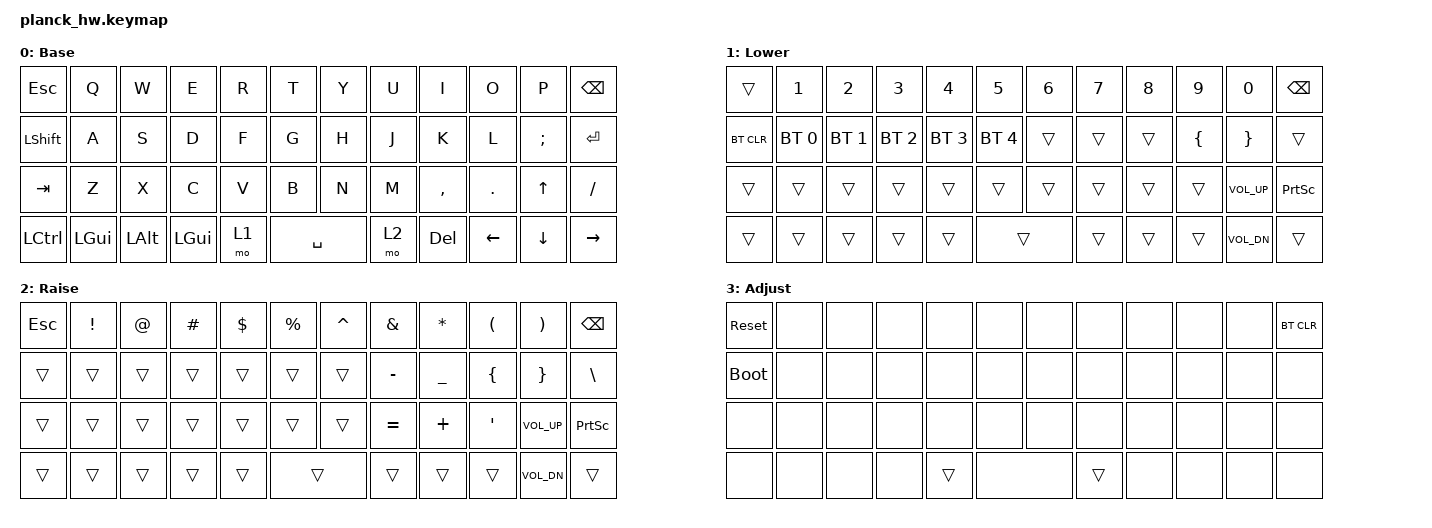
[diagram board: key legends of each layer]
/*
 * Copyright (c) 2024 The ZMK Contributors
 * SPDX-License-Identifier: MIT
 */

#include <behaviors.dtsi>
#include <dt-bindings/zmk/keys.h>
#include <dt-bindings/zmk/bt.h>

#define DEFAULT 0
#define LOWER   1
#define RAISE   2
#define ADJUST  3

/ {
    combos {
        compatible = "zmk,combos";
        
        // Press Lower + Raise together to unlock ZMK Studio
        combo_studio_unlock {
            timeout-ms = <50>;
            key-positions = <40 42>;  // Lower (pos 40) + Raise (pos 42)
            bindings = <&studio_unlock>;
        };
    };

    keymap {
        compatible = "zmk,keymap";

        default_layer {
            display-name = "Base";
            // -----------------------------------------------------------------------------------------
            // |  ESC  |  Q   |  W   |  E   |  R   |  T   |   Y   |  U    |  I   |  O   |   P   | BSPC  |
            // | SHIFT |  A   |  S   |  D   |  F   |  G   |   H   |  J    |  K   |  L   |   ;   |  ENT  |
            // |  TAB  |  Z   |  X   |  C   |  V   |  B   |   N   |  M    |  ,   |  .   |  UP   |   /   |
            // | LCTRL | LGUI | LALT | LGUI | LOWR | SPACE | RAISE |  DEL  | LEFT | DOWN | RIGHT |
            bindings = <
                &kp ESC   &kp Q     &kp W    &kp E    &kp R  &kp T   &kp Y   &kp U  &kp I     &kp O    &kp P     &kp BSPC
                &kp LSHFT &kp A     &kp S    &kp D    &kp F  &kp G   &kp H   &kp J  &kp K     &kp L    &kp SEMI  &kp RET
                &kp TAB   &kp Z     &kp X    &kp C    &kp V  &kp B   &kp N   &kp M  &kp COMMA &kp DOT  &kp UP    &kp SLASH
                &kp LCTRL &kp LGUI  &kp LALT &kp LGUI &mo 1  &kp SPACE       &mo 2  &kp DEL   &kp LEFT &kp DOWN  &kp RIGHT
            >;
        };

        lower_layer {
            display-name = "Lower";
            // -----------------------------------------------------------------------------------------
            // |       |  1   |  2   |  3   |  4   |  5   |   6   |   7   |  8   |  9   |   0   | BSPC  |
            // | BTCLR | BT1  | BT2  | BT3  | BT4  | BT5  |       |       |      |  {   |   }   | ENTER |
            // |       |      |      |      |      |      |       |       |      |      | VOL+  | PRSC  |
            // |       |      |      |      |      |      |       |       |      | VOL- |       |
            bindings = <
                &trans     &kp N1       &kp N2       &kp N3       &kp N4       &kp N5       &kp N6 &kp N7 &kp N8 &kp N9 &kp N0       &kp BSPC
                &bt BT_CLR &bt BT_SEL 0 &bt BT_SEL 1 &bt BT_SEL 2 &bt BT_SEL 3 &bt BT_SEL 4 &trans &trans &trans &kp LBRC &kp RBRC     &trans
                &trans     &trans       &trans       &trans       &trans       &trans       &trans &trans &trans &trans   &kp C_VOL_UP &kp PSCRN
                &trans     &trans       &trans       &trans       &trans       &trans              &trans &trans &trans   &kp C_VOL_DN &trans
            >;
        };

        raise_layer {
            display-name = "Raise";
            // -----------------------------------------------------------------------------------------
            // |  ESC  |  !   |  @   |  #   |  $   |  %   |   ^   |   &   |  *   |  (   |   )   | BSPC  |
            // |       |      |      |      |      |      |   -   |   _   |  {   |  }   |   \   |       |
            // |       |      |      |      |      |      |   =   |   +   |  '   |      | VOL+  | PRSC  |
            // |       |      |      |      |      |      |       |       |      | VOL- |       |
            bindings = <
                &kp ESC &kp EXCL &kp AT &kp HASH &kp DLLR &kp PRCNT &kp CARET &kp AMPS  &kp ASTRK &kp LPAR &kp RPAR &kp BSPC
                &trans  &trans   &trans &trans   &trans   &trans    &trans    &kp MINUS &kp UNDER &kp LBRC &kp RBRC &kp BSLH
                &trans  &trans   &trans &trans   &trans   &trans    &trans    &kp EQUAL &kp PLUS  &kp SQT  &kp C_VOL_UP &kp PSCRN
                &trans  &trans   &trans &trans   &trans   &trans              &trans    &trans    &trans   &kp C_VOL_DN &trans
            >;
        };

        adjust_layer {
            display-name = "Adjust";
            bindings = <
                &sys_reset  &none &none &none &none &none &none &none &none &none &none &bt BT_CLR
                &bootloader &none &none &none &none &none &none &none &none &none &none &none
                &none       &none &none &none &none &none &none &none &none &none &none &none
                &none       &none &none &none &trans &none       &trans &none &none &none &none
            >;
        };
    };
};
